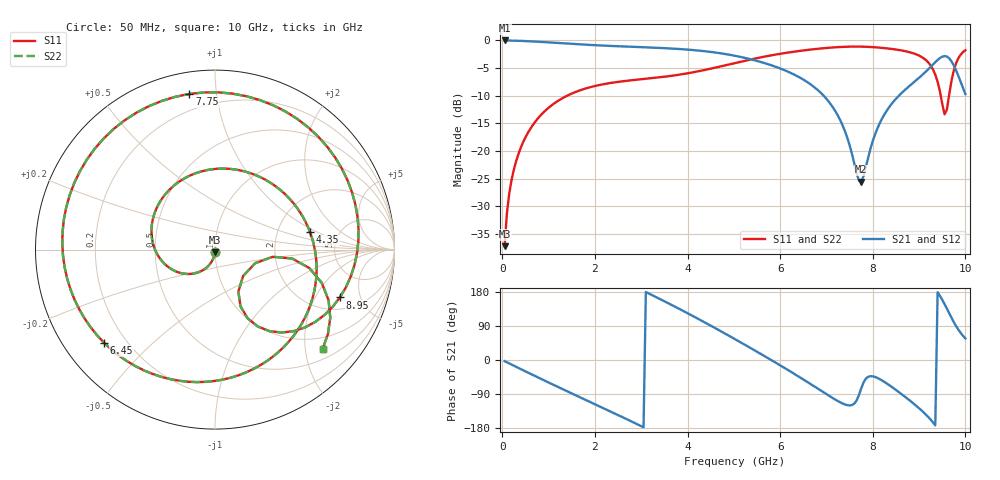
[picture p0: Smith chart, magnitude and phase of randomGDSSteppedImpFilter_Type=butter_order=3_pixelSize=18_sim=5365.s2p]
! freq	dB(S11)	phase(S11)	dB(S12)	phase(S12)
!  dB(S21)	phase(S21)	dB(S22)	phase(S22)
!S-par simulation data
#  GHz  S  DB  R 50
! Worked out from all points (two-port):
!   200 points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, 50 MHz to 10 GHz, reference 50 ohm
!   highest |S21| = -0.01 dB at 50 MHz (marker M1); lowest = -25.5 dB at 7.75 GHz (marker M2)
!   |S21| within 3 dB of the highest: start of sweep to 5.16 GHz; 9.487 GHz to 9.615 GHz (127.9 MHz wide, 1.34 % of centre)
!   lowest |S11| = -37.2 dB at 50 MHz (marker M3), VSWR 1.03, Z = 49.9 - j1.38 ohm
!   |S11| at or under -10 dB: start of sweep to 1.396 GHz; 9.468 GHz to 9.646 GHz (178.4 MHz wide, 1.87 % of centre)
!   |S22| runs from -37.2 to -1.1 dB; largest |S21 - S12| = 0
!   S11 on the Smith chart (normalised r, x): 50 MHz: 1.00, -0.03; 4.35 GHz: 3.08, +0.84; 6.45 GHz: 0.12, -0.36; 7.75 GHz: 0.11, +0.84; 8.95 GHz: 2.72, -3.26; 10 GHz: 0.72, -2.37
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0.05  -37.17 -92.7  -0.01 -3.1  -0.01 -3.1  -37.17 -92.7
0.2  -25.22 -102.1  -0.03 -12.1  -0.03 -12.1  -25.22 -102.1
0.5  -17.52 -120.5  -0.12 -30.0  -0.12 -30.0  -17.52 -120.5
1.15  -11.21 -158.7  -0.43 -68.1  -0.43 -68.1  -11.21 -158.7
1.75  -8.81 166.9  -0.74 -102.4  -0.74 -102.4  -8.81 166.9
2.65  -7.33 115.4  -1.10 -154.0  -1.10 -154.0  -7.33 115.4
3.4  -6.66 70.7  -1.35 161.2  -1.35 161.2  -6.66 70.7
4.35  -5.37 10.3  -1.93 100.7  -1.93 100.7  -5.37 10.4
5.05  -4.04 -37.0  -2.81 53.3  -2.81 53.3  -4.04 -36.9
5.8  -2.71 -90.3  -4.46 0.5  -4.46 0.5  -2.71 -90.2
6.45  -1.86 -139.9  -6.83 -47.5  -6.83 -47.5  -1.86 -139.8
6.7  -1.61 -160.5  -8.20 -66.7  -8.20 -66.7  -1.61 -160.4
7.2  -1.23 154.6  -12.89 -105.2  -12.89 -105.2  -1.23 154.7
7.75  -1.12 99.4  -25.55 -75.1  -25.55 -75.1  -1.12 99.5
8.35  -1.48 37.5  -12.10 -65.8  -12.10 -65.8  -1.48 37.5
8.95  -2.56 -21.0  -7.10 -121.9  -7.10 -121.9  -2.56 -21.0
9.25  -4.53 -51.1  -4.78 -157.3  -4.78 -157.3  -4.53 -51.2
9.5  -11.46 -60.8  -2.94 158.9  -2.94 158.9  -11.47 -60.9
9.6  -12.53 -18.7  -2.91 135.5  -2.91 135.5  -12.54 -18.7
9.7  -7.27 -6.6  -3.78 111.1  -3.78 111.1  -7.28 -6.6
9.85  -3.18 -24.0  -6.45 79.7  -6.45 79.7  -3.19 -24.0
10  -1.77 -42.7  -9.69 56.8  -9.69 56.8  -1.77 -42.7
